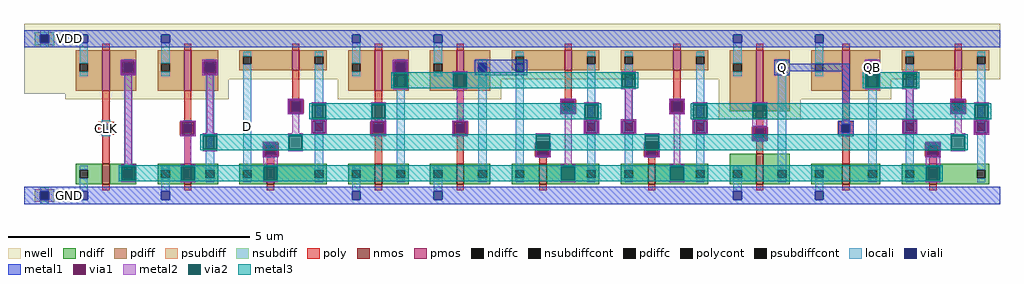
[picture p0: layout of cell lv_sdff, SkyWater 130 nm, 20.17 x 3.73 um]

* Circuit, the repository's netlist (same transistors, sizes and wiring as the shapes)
* NGSPICE file created from lv_sdff.ext - technology: sky130A

.subckt tg A B GN GP VDD GND w_0_481# VSUBS
X0 B GN A VSUBS sky130_fd_pr__nfet_01v8 ad=0.4578 pd=3.02 as=0.2394 ps=1.98 w=0.42 l=0.15
X1 B GP A w_0_481# sky130_fd_pr__pfet_01v8 ad=0.2394 pd=1.98 as=0.4578 ps=3.02 w=0.42 l=0.15
.ends

.subckt inv_s1 A Y VDD GND w_0_313# VSUBS
X0 Y A GND VSUBS sky130_fd_pr__nfet_01v8 ad=0.3465 pd=2.36 as=0.3465 ps=2.36 w=0.63 l=0.15
X1 Y A VDD w_0_313# sky130_fd_pr__pfet_01v8 ad=0.693 pd=3.62 as=0.693 ps=3.62 w=1.26 l=0.15
.ends

.subckt inv_ff A Y VDD GND w_0_397# VSUBS
X0 Y A GND VSUBS sky130_fd_pr__nfet_01v8 ad=0.231 pd=1.94 as=0.231 ps=1.94 w=0.42 l=0.15
X1 Y A VDD w_0_397# sky130_fd_pr__pfet_01v8 ad=0.462 pd=2.78 as=0.462 ps=2.78 w=0.84 l=0.15
.ends

.subckt inv_s2 A Y VDD GND w_0_397# VSUBS
X0 Y A GND VSUBS sky130_fd_pr__nfet_01v8 ad=0.2688 pd=2.12 as=0.2688 ps=2.12 w=0.42 l=0.15
X1 Y A VDD w_0_397# sky130_fd_pr__pfet_01v8 ad=0.5376 pd=2.96 as=0.5376 ps=2.96 w=0.84 l=0.15
.ends

.subckt sdff D CLK Q QB VDD GND t4/w_0_481# VSUBS
Xt1 D t2/B ci/Y t4/GP VDD GND t4/w_0_481# VSUBS tg
Xs1 t4/B Q VDD GND t4/w_0_481# VSUBS inv_s1
Xt2 t2/A t2/B t4/GP ci/Y VDD GND t4/w_0_481# VSUBS tg
Xci CLK ci/Y VDD GND t4/w_0_481# VSUBS inv_ff
Xs2 Q QB VDD GND t4/w_0_481# VSUBS inv_s2
Xt3 t3/A t4/B t4/GP ci/Y VDD GND t4/w_0_481# VSUBS tg
Xt4 QB t4/B ci/Y t4/GP VDD GND t4/w_0_481# VSUBS tg
Xm1 t2/B t3/A VDD GND t4/w_0_481# VSUBS inv_ff
Xm2 t3/A t2/A VDD GND t4/w_0_481# VSUBS inv_ff
Xci2 ci/Y t4/GP VDD GND t4/w_0_481# VSUBS inv_ff
.ends

.subckt lv_sdff D CLK Q QB VDD GND
Xu D CLK Q QB VDD GND VDD GND sdff
.ends

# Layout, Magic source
magic
tech sky130A
magscale 1 2
<< locali >>
rect 322 261 356 295
rect 906 267 940 301
<< metal1 >>
rect 173 631 207 665
rect 3116 512 3150 546
rect 3490 512 3524 546
rect 173 -17 207 17
use tap  t
transform 1 0 0 0 1 0
box 0 -36 170 710
use sdff  u
transform 1 0 170 0 1 0
box 0 -36 3864 710
<< labels >>
rlabel locali 923 284 923 284 0 D
port 1 nsew
rlabel locali 339 278 339 278 0 CLK
port 2 nsew
rlabel metal1 3133 529 3133 529 0 Q
port 3 nsew
rlabel metal1 3507 529 3507 529 0 QB
port 4 nsew
rlabel metal1 190 648 190 648 0 VDD
port 5 nsew
rlabel metal1 190 0 190 0 0 GND
port 6 nsew
<< end >>

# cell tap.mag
magic
tech sky130A
magscale 1 2
<< nwell >>
rect 0 420 170 710
<< psubdiff >>
rect 44 17 126 26
rect 44 -17 68 17
rect 102 -17 126 17
rect 44 -26 126 -17
<< nsubdiff >>
rect 44 665 126 674
rect 44 631 68 665
rect 102 631 126 665
rect 44 622 126 631
<< psubdiffcont >>
rect 68 -17 102 17
<< nsubdiffcont >>
rect 68 631 102 665
<< locali >>
rect 68 665 102 683
rect 68 613 102 631
rect 68 17 102 35
rect 68 -35 102 -17
<< viali >>
rect 68 631 102 665
rect 68 -17 102 17
<< metal1 >>
rect 0 665 170 684
rect 0 631 68 665
rect 102 631 170 665
rect 0 612 170 631
rect 0 17 170 36
rect 0 -17 68 17
rect 102 -17 170 17
rect 0 -36 170 -17
<< labels >>
rlabel metal1 20 648 20 648 0 VDD
port 1 nsew
rlabel metal1 20 0 20 0 0 GND
port 2 nsew
<< end >>

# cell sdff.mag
magic
tech sky130A
magscale 1 2
<< locali >>
rect 152 261 186 295
rect 736 267 770 301
<< viali >>
rect 1862 512 1896 546
rect 936 351 970 385
rect 2062 351 2096 385
rect 2512 351 2546 385
rect 3674 351 3708 385
rect 490 261 524 295
rect 1032 267 1066 301
rect 1278 261 1312 295
rect 1616 261 1650 295
rect 2158 267 2192 301
rect 2312 267 2346 301
rect 2608 267 2642 301
rect 2854 239 2888 273
rect 3210 261 3244 295
rect 3474 267 3508 301
rect 3770 267 3804 301
rect 832 173 866 207
rect 1958 173 1992 207
rect 2408 173 2442 207
rect 3570 173 3604 207
<< metal1 >>
rect 3 631 37 665
rect 229 555 293 561
rect 229 503 235 555
rect 287 503 293 555
rect 229 497 293 503
rect 567 555 631 561
rect 567 503 573 555
rect 625 503 631 555
rect 567 497 631 503
rect 1355 555 1419 561
rect 1355 503 1361 555
rect 1413 503 1419 555
rect 1355 497 1419 503
rect 1693 546 1911 561
rect 3305 555 3369 561
rect 1693 512 1862 546
rect 1896 512 1911 546
rect 2946 545 2980 546
rect 2931 513 3243 545
rect 2946 512 2980 513
rect 1693 497 1911 512
rect 921 394 985 400
rect 921 342 927 394
rect 979 342 985 394
rect 921 336 985 342
rect 2047 394 2111 400
rect 2047 342 2053 394
rect 2105 342 2111 394
rect 2047 336 2111 342
rect 2497 394 2561 400
rect 2497 342 2503 394
rect 2555 342 2561 394
rect 2497 336 2561 342
rect 1017 310 1081 316
rect 2143 310 2207 316
rect 475 304 539 310
rect 475 252 481 304
rect 533 252 539 304
rect 1017 258 1023 310
rect 1075 258 1081 310
rect 1017 252 1081 258
rect 1263 304 1327 310
rect 1263 252 1269 304
rect 1321 252 1327 304
rect 475 246 539 252
rect 1263 246 1327 252
rect 1601 304 1665 310
rect 1601 252 1607 304
rect 1659 252 1665 304
rect 2143 258 2149 310
rect 2201 258 2207 310
rect 2143 252 2207 258
rect 2297 310 2361 316
rect 2297 258 2303 310
rect 2355 258 2361 310
rect 2297 252 2361 258
rect 2593 310 2657 316
rect 3211 310 3243 513
rect 3305 503 3311 555
rect 3363 503 3369 555
rect 3305 497 3369 503
rect 3659 394 3723 400
rect 3659 342 3665 394
rect 3717 342 3723 394
rect 3659 336 3723 342
rect 3459 310 3523 316
rect 2593 258 2599 310
rect 2651 258 2657 310
rect 3195 295 3259 310
rect 2593 252 2657 258
rect 2839 282 2903 288
rect 1601 246 1665 252
rect 2839 230 2845 282
rect 2897 230 2903 282
rect 3195 261 3210 295
rect 3244 261 3259 295
rect 3195 246 3259 261
rect 3459 258 3465 310
rect 3517 258 3523 310
rect 3459 252 3523 258
rect 3755 310 3819 316
rect 3755 258 3761 310
rect 3813 258 3819 310
rect 3755 252 3819 258
rect 2839 224 2903 230
rect 817 216 881 222
rect 817 164 823 216
rect 875 164 881 216
rect 817 158 881 164
rect 1943 216 2007 222
rect 1943 164 1949 216
rect 2001 164 2007 216
rect 1943 158 2007 164
rect 2393 216 2457 222
rect 2393 164 2399 216
rect 2451 164 2457 216
rect 2393 158 2457 164
rect 3555 216 3619 222
rect 3555 164 3561 216
rect 3613 164 3619 216
rect 3555 158 3619 164
rect 3 -17 37 17
<< via1 >>
rect 235 503 287 555
rect 573 503 625 555
rect 1361 503 1413 555
rect 927 385 979 394
rect 927 351 936 385
rect 936 351 970 385
rect 970 351 979 385
rect 927 342 979 351
rect 2053 385 2105 394
rect 2053 351 2062 385
rect 2062 351 2096 385
rect 2096 351 2105 385
rect 2053 342 2105 351
rect 2503 385 2555 394
rect 2503 351 2512 385
rect 2512 351 2546 385
rect 2546 351 2555 385
rect 2503 342 2555 351
rect 481 295 533 304
rect 481 261 490 295
rect 490 261 524 295
rect 524 261 533 295
rect 481 252 533 261
rect 1023 301 1075 310
rect 1023 267 1032 301
rect 1032 267 1066 301
rect 1066 267 1075 301
rect 1023 258 1075 267
rect 1269 295 1321 304
rect 1269 261 1278 295
rect 1278 261 1312 295
rect 1312 261 1321 295
rect 1269 252 1321 261
rect 1607 295 1659 304
rect 1607 261 1616 295
rect 1616 261 1650 295
rect 1650 261 1659 295
rect 1607 252 1659 261
rect 2149 301 2201 310
rect 2149 267 2158 301
rect 2158 267 2192 301
rect 2192 267 2201 301
rect 2149 258 2201 267
rect 2303 301 2355 310
rect 2303 267 2312 301
rect 2312 267 2346 301
rect 2346 267 2355 301
rect 2303 258 2355 267
rect 3311 503 3363 555
rect 3665 385 3717 394
rect 3665 351 3674 385
rect 3674 351 3708 385
rect 3708 351 3717 385
rect 3665 342 3717 351
rect 2599 301 2651 310
rect 2599 267 2608 301
rect 2608 267 2642 301
rect 2642 267 2651 301
rect 2599 258 2651 267
rect 2845 273 2897 282
rect 2845 239 2854 273
rect 2854 239 2888 273
rect 2888 239 2897 273
rect 2845 230 2897 239
rect 3465 301 3517 310
rect 3465 267 3474 301
rect 3474 267 3508 301
rect 3508 267 3517 301
rect 3465 258 3517 267
rect 3761 301 3813 310
rect 3761 267 3770 301
rect 3770 267 3804 301
rect 3804 267 3813 301
rect 3761 258 3813 267
rect 823 207 875 216
rect 823 173 832 207
rect 832 173 866 207
rect 866 173 875 207
rect 823 164 875 173
rect 1949 207 2001 216
rect 1949 173 1958 207
rect 1958 173 1992 207
rect 1992 173 2001 207
rect 1949 164 2001 173
rect 2399 207 2451 216
rect 2399 173 2408 207
rect 2408 173 2442 207
rect 2442 173 2451 207
rect 2399 164 2451 173
rect 3561 207 3613 216
rect 3561 173 3570 207
rect 3570 173 3604 207
rect 3604 173 3613 207
rect 3561 164 3613 173
<< metal2 >>
rect 229 555 293 561
rect 229 503 235 555
rect 287 503 293 555
rect 229 497 293 503
rect 567 555 631 561
rect 567 503 573 555
rect 625 503 631 555
rect 567 497 631 503
rect 1355 555 1419 561
rect 1355 504 1361 555
rect 1413 504 1419 555
rect 3305 555 3369 561
rect 1355 497 1359 504
rect 247 129 275 497
rect 475 304 539 310
rect 475 252 481 304
rect 533 252 539 304
rect 585 257 613 497
rect 1357 448 1359 497
rect 1415 497 1419 504
rect 1603 504 1663 513
rect 1415 448 1417 497
rect 1357 439 1417 448
rect 1603 448 1605 504
rect 1661 448 1663 504
rect 1603 439 1663 448
rect 2299 504 2359 513
rect 2299 448 2301 504
rect 2357 448 2359 504
rect 3305 504 3311 555
rect 3363 504 3369 555
rect 3305 497 3309 504
rect 2299 439 2359 448
rect 3307 448 3309 497
rect 3365 497 3369 504
rect 3461 504 3521 513
rect 3365 448 3367 497
rect 3307 439 3367 448
rect 3461 448 3463 504
rect 3519 448 3521 504
rect 3461 439 3521 448
rect 921 394 985 400
rect 921 342 927 394
rect 979 342 985 394
rect 921 336 985 342
rect 1019 376 1079 385
rect 939 257 967 336
rect 1019 320 1021 376
rect 1077 320 1079 376
rect 1019 316 1079 320
rect 1265 376 1325 385
rect 1265 320 1267 376
rect 1323 320 1325 376
rect 1017 310 1081 316
rect 1265 310 1325 320
rect 1619 310 1647 439
rect 2047 394 2111 400
rect 2047 342 2053 394
rect 2105 342 2111 394
rect 2047 336 2111 342
rect 2145 376 2205 385
rect 1017 258 1023 310
rect 1075 258 1081 310
rect 475 246 539 252
rect 569 248 629 257
rect 493 129 521 246
rect 569 192 571 248
rect 627 192 629 248
rect 923 248 983 257
rect 1017 252 1081 258
rect 1263 304 1327 310
rect 1263 252 1269 304
rect 1321 252 1327 304
rect 569 183 629 192
rect 817 216 881 222
rect 817 164 823 216
rect 875 164 881 216
rect 923 192 925 248
rect 981 192 983 248
rect 1263 246 1327 252
rect 1601 304 1665 310
rect 1601 252 1607 304
rect 1659 252 1665 304
rect 1601 246 1665 252
rect 1945 248 2005 257
rect 1945 222 1947 248
rect 923 183 983 192
rect 1943 192 1947 222
rect 2003 222 2005 248
rect 2003 192 2007 222
rect 817 158 881 164
rect 1943 164 1949 192
rect 2001 164 2007 192
rect 1943 158 2007 164
rect 231 120 291 129
rect 231 64 233 120
rect 289 64 291 120
rect 231 55 291 64
rect 477 120 537 129
rect 477 64 479 120
rect 535 64 537 120
rect 477 55 537 64
rect 819 120 879 158
rect 2065 129 2093 336
rect 2145 320 2147 376
rect 2203 320 2205 376
rect 2145 316 2205 320
rect 2315 316 2343 439
rect 2497 394 2561 400
rect 2497 342 2503 394
rect 2555 342 2561 394
rect 2497 336 2561 342
rect 2595 376 2655 385
rect 2143 310 2207 316
rect 2143 258 2149 310
rect 2201 258 2207 310
rect 2143 252 2207 258
rect 2297 310 2361 316
rect 2297 258 2303 310
rect 2355 258 2361 310
rect 2297 252 2361 258
rect 2395 248 2455 257
rect 2395 222 2397 248
rect 2393 192 2397 222
rect 2453 222 2455 248
rect 2453 192 2457 222
rect 2393 164 2399 192
rect 2451 164 2457 192
rect 2393 158 2457 164
rect 2515 129 2543 336
rect 2595 320 2597 376
rect 2653 320 2655 376
rect 2595 316 2655 320
rect 2841 376 2901 385
rect 2841 320 2843 376
rect 2899 320 2901 376
rect 2593 310 2657 316
rect 2593 258 2599 310
rect 2651 258 2657 310
rect 2841 288 2901 320
rect 3477 316 3505 439
rect 3659 394 3723 400
rect 3659 342 3665 394
rect 3717 342 3723 394
rect 3659 336 3723 342
rect 3757 376 3817 385
rect 3459 310 3523 316
rect 2593 252 2657 258
rect 2839 282 2903 288
rect 2839 230 2845 282
rect 2897 230 2903 282
rect 3459 258 3465 310
rect 3517 258 3523 310
rect 3459 252 3523 258
rect 3677 257 3705 336
rect 3757 320 3759 376
rect 3815 320 3817 376
rect 3757 316 3817 320
rect 3755 310 3819 316
rect 3755 258 3761 310
rect 3813 258 3819 310
rect 2839 224 2903 230
rect 3661 248 3721 257
rect 3755 252 3819 258
rect 3555 216 3619 222
rect 3555 164 3561 216
rect 3613 164 3619 216
rect 3661 192 3663 248
rect 3719 192 3721 248
rect 3661 183 3721 192
rect 3555 158 3619 164
rect 819 64 821 120
rect 877 64 879 120
rect 819 55 879 64
rect 2049 120 2109 129
rect 2049 64 2051 120
rect 2107 64 2109 120
rect 2049 55 2109 64
rect 2499 120 2559 129
rect 2499 64 2501 120
rect 2557 64 2559 120
rect 2499 55 2559 64
rect 3557 120 3617 158
rect 3557 64 3559 120
rect 3615 64 3617 120
rect 3557 55 3617 64
<< via2 >>
rect 1359 503 1361 504
rect 1361 503 1413 504
rect 1413 503 1415 504
rect 1359 448 1415 503
rect 1605 448 1661 504
rect 2301 448 2357 504
rect 3309 503 3311 504
rect 3311 503 3363 504
rect 3363 503 3365 504
rect 3309 448 3365 503
rect 3463 448 3519 504
rect 1021 320 1077 376
rect 1267 320 1323 376
rect 571 192 627 248
rect 925 192 981 248
rect 1947 216 2003 248
rect 1947 192 1949 216
rect 1949 192 2001 216
rect 2001 192 2003 216
rect 233 64 289 120
rect 479 64 535 120
rect 2147 320 2203 376
rect 2397 216 2453 248
rect 2397 192 2399 216
rect 2399 192 2451 216
rect 2451 192 2453 216
rect 2597 320 2653 376
rect 2843 320 2899 376
rect 3759 320 3815 376
rect 3663 192 3719 248
rect 821 64 877 120
rect 2051 64 2107 120
rect 2501 64 2557 120
rect 3559 64 3615 120
<< metal3 >>
rect 1347 504 2369 509
rect 1347 448 1359 504
rect 1415 448 1605 504
rect 1661 448 2301 504
rect 2357 448 2369 504
rect 1347 443 2369 448
rect 3297 504 3531 509
rect 3297 448 3309 504
rect 3365 448 3463 504
rect 3519 448 3531 504
rect 3297 443 3531 448
rect 1009 376 2215 381
rect 1009 320 1021 376
rect 1077 320 1267 376
rect 1323 320 2147 376
rect 2203 320 2215 376
rect 1009 315 2215 320
rect 2585 376 3827 381
rect 2585 320 2597 376
rect 2653 320 2843 376
rect 2899 320 3759 376
rect 3815 320 3827 376
rect 2585 315 3827 320
rect 559 248 3731 253
rect 559 192 571 248
rect 627 192 925 248
rect 981 192 1947 248
rect 2003 192 2397 248
rect 2453 192 3663 248
rect 3719 192 3731 248
rect 559 187 3731 192
rect 221 120 3627 125
rect 221 64 233 120
rect 289 64 479 120
rect 535 64 821 120
rect 877 64 2051 120
rect 2107 64 2501 120
rect 2557 64 3559 120
rect 3615 64 3627 120
rect 221 59 3627 64
use inv_ff  ci2
transform 1 0 338 0 1 0
box 0 -36 338 710
use inv_ff  ci
transform 1 0 0 0 1 0
box 0 -36 338 710
use inv_ff  m1
transform 1 0 1126 0 1 0
box 0 -36 338 710
use inv_ff  m2
transform 1 0 1464 0 1 0
box 0 -36 338 710
use inv_s1  s1
transform 1 0 2702 0 1 0
box 0 -36 338 710
use inv_s2  s2
transform 1 0 3040 0 1 0
box 0 -36 374 710
use tg  t1
transform 1 0 676 0 1 0
box 0 -36 450 710
use tg  t2
transform 1 0 1802 0 1 0
box 0 -36 450 710
use tg  t3
transform 1 0 2252 0 1 0
box 0 -36 450 710
use tg  t4
transform 1 0 3414 0 1 0
box 0 -36 450 710
<< labels >>
rlabel locali 753 284 753 284 0 D
port 1 nsew
rlabel locali 169 278 169 278 0 CLK
port 2 nsew
rlabel metal1 2963 529 2963 529 0 Q
port 3 nsew
rlabel via1 3337 529 3337 529 0 QB
port 4 nsew
rlabel metal1 20 648 20 648 0 VDD
port 5 nsew
rlabel metal1 20 0 20 0 0 GND
port 6 nsew
<< end >>

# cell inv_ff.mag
magic
tech sky130A
magscale 1 2
<< nwell >>
rect 0 397 338 710
<< nmos >>
rect 154 47 184 131
<< pmos >>
rect 154 433 184 601
<< ndiff >>
rect 44 106 154 131
rect 44 72 60 106
rect 94 72 154 106
rect 44 47 154 72
rect 184 106 294 131
rect 184 72 244 106
rect 278 72 294 106
rect 184 47 294 72
<< pdiff >>
rect 44 546 154 601
rect 44 512 60 546
rect 94 512 154 546
rect 44 433 154 512
rect 184 546 294 601
rect 184 512 244 546
rect 278 512 294 546
rect 184 433 294 512
<< ndiffc >>
rect 60 72 94 106
rect 244 72 278 106
<< pdiffc >>
rect 60 512 94 546
rect 244 512 278 546
<< poly >>
rect 154 601 184 627
rect 154 305 184 433
rect 136 295 202 305
rect 136 261 152 295
rect 186 261 202 295
rect 136 251 202 261
rect 154 131 184 251
rect 154 21 184 47
<< polycont >>
rect 152 261 186 295
<< locali >>
rect 60 546 94 631
rect 60 494 94 512
rect 244 546 278 564
rect 152 295 186 311
rect 152 245 186 261
rect 60 106 94 124
rect 60 17 94 72
rect 244 106 278 512
rect 244 54 278 72
<< viali >>
rect 60 631 94 665
rect 244 512 278 546
rect 60 -17 94 17
<< metal1 >>
rect 0 665 338 684
rect 0 631 60 665
rect 94 631 338 665
rect 0 612 338 631
rect 229 546 293 561
rect 229 512 244 546
rect 278 512 293 546
rect 229 497 293 512
rect 0 17 338 36
rect 0 -17 60 17
rect 94 -17 338 17
rect 0 -36 338 -17
<< labels >>
rlabel polycont 169 278 169 278 0 A
port 1 nsew
rlabel viali 261 529 261 529 0 Y
port 2 nsew
rlabel metal1 20 648 20 648 0 VDD
port 3 nsew
rlabel metal1 20 0 20 0 0 GND
port 4 nsew
<< end >>

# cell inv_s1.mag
magic
tech sky130A
magscale 1 2
<< nwell >>
rect 0 313 338 710
<< nmos >>
rect 154 47 184 173
<< pmos >>
rect 154 349 184 601
<< ndiff >>
rect 44 106 154 173
rect 44 72 60 106
rect 94 72 154 106
rect 44 47 154 72
rect 184 106 294 173
rect 184 72 244 106
rect 278 72 294 106
rect 184 47 294 72
<< pdiff >>
rect 44 546 154 601
rect 44 512 60 546
rect 94 512 154 546
rect 44 349 154 512
rect 184 546 294 601
rect 184 512 244 546
rect 278 512 294 546
rect 184 349 294 512
<< ndiffc >>
rect 60 72 94 106
rect 244 72 278 106
<< pdiffc >>
rect 60 512 94 546
rect 244 512 278 546
<< poly >>
rect 154 601 184 627
rect 154 283 184 349
rect 136 273 202 283
rect 136 239 152 273
rect 186 239 202 273
rect 136 229 202 239
rect 154 173 184 229
rect 154 21 184 47
<< polycont >>
rect 152 239 186 273
<< locali >>
rect 60 546 94 631
rect 60 494 94 512
rect 244 546 278 564
rect 152 273 186 289
rect 152 223 186 239
rect 60 106 94 124
rect 60 17 94 72
rect 244 106 278 512
rect 244 54 278 72
<< viali >>
rect 60 631 94 665
rect 244 512 278 546
rect 60 -17 94 17
<< metal1 >>
rect 0 665 338 684
rect 0 631 60 665
rect 94 631 338 665
rect 0 612 338 631
rect 229 546 293 561
rect 229 512 244 546
rect 278 512 293 546
rect 229 497 293 512
rect 0 17 338 36
rect 0 -17 60 17
rect 94 -17 338 17
rect 0 -36 338 -17
<< labels >>
rlabel polycont 169 256 169 256 0 A
port 1 nsew
rlabel viali 261 529 261 529 0 Y
port 2 nsew
rlabel metal1 20 648 20 648 0 VDD
port 3 nsew
rlabel metal1 20 0 20 0 0 GND
port 4 nsew
<< end >>

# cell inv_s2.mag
magic
tech sky130A
magscale 1 2
<< nwell >>
rect 0 397 374 710
<< nmos >>
rect 172 47 202 131
<< pmos >>
rect 172 433 202 601
<< ndiff >>
rect 44 106 172 131
rect 44 72 60 106
rect 94 72 172 106
rect 44 47 172 72
rect 202 106 330 131
rect 202 72 280 106
rect 314 72 330 106
rect 202 47 330 72
<< pdiff >>
rect 44 546 172 601
rect 44 512 60 546
rect 94 512 172 546
rect 44 433 172 512
rect 202 546 330 601
rect 202 512 280 546
rect 314 512 330 546
rect 202 433 330 512
<< ndiffc >>
rect 60 72 94 106
rect 280 72 314 106
<< pdiffc >>
rect 60 512 94 546
rect 280 512 314 546
<< poly >>
rect 172 601 202 627
rect 172 305 202 433
rect 154 295 220 305
rect 154 261 170 295
rect 204 261 220 295
rect 154 251 220 261
rect 172 131 202 251
rect 172 21 202 47
<< polycont >>
rect 170 261 204 295
<< locali >>
rect 60 546 94 631
rect 60 494 94 512
rect 280 546 314 564
rect 170 295 204 311
rect 170 245 204 261
rect 60 106 94 124
rect 60 17 94 72
rect 280 106 314 512
rect 280 54 314 72
<< viali >>
rect 60 631 94 665
rect 280 512 314 546
rect 60 -17 94 17
<< metal1 >>
rect 0 665 374 684
rect 0 631 60 665
rect 94 631 374 665
rect 0 612 374 631
rect 265 546 329 561
rect 265 512 280 546
rect 314 512 329 546
rect 265 497 329 512
rect 0 17 374 36
rect 0 -17 60 17
rect 94 -17 374 17
rect 0 -36 374 -17
<< labels >>
rlabel polycont 187 278 187 278 0 A
port 1 nsew
rlabel viali 297 529 297 529 0 Y
port 2 nsew
rlabel metal1 20 648 20 648 0 VDD
port 3 nsew
rlabel metal1 20 0 20 0 0 GND
port 4 nsew
<< end >>

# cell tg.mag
magic
tech sky130A
magscale 1 2
<< nwell >>
rect 0 481 450 710
<< nmos >>
rect 158 47 188 131
<< pmos >>
rect 262 517 292 601
<< ndiff >>
rect 44 106 158 131
rect 44 72 60 106
rect 94 72 158 106
rect 44 47 158 72
rect 188 106 406 131
rect 188 72 356 106
rect 390 72 406 106
rect 188 47 406 72
<< pdiff >>
rect 44 576 262 601
rect 44 542 60 576
rect 94 542 262 576
rect 44 517 262 542
rect 292 576 406 601
rect 292 542 356 576
rect 390 542 406 576
rect 292 517 406 542
<< ndiffc >>
rect 60 72 94 106
rect 356 72 390 106
<< pdiffc >>
rect 60 542 94 576
rect 356 542 390 576
<< poly >>
rect 262 601 292 627
rect 262 395 292 517
rect 244 385 310 395
rect 244 351 260 385
rect 294 351 310 385
rect 244 341 310 351
rect 262 340 292 341
rect 158 217 188 218
rect 140 207 206 217
rect 140 173 156 207
rect 190 173 206 207
rect 140 163 206 173
rect 158 131 188 163
rect 158 21 188 47
<< polycont >>
rect 260 351 294 385
rect 156 173 190 207
<< locali >>
rect 60 576 94 594
rect 60 106 94 542
rect 356 576 390 594
rect 260 385 294 401
rect 260 335 294 351
rect 156 207 190 223
rect 156 157 190 173
rect 60 54 94 72
rect 356 106 390 542
rect 356 54 390 72
<< metal1 >>
rect 0 612 450 684
rect 0 -36 450 36
<< labels >>
rlabel locali 77 284 77 284 0 A
port 1 nsew
rlabel locali 373 284 373 284 0 B
port 2 nsew
rlabel polycont 173 190 173 190 0 GN
port 3 nsew
rlabel polycont 277 368 277 368 0 GP
port 4 nsew
rlabel metal1 20 648 20 648 0 VDD
port 5 nsew
rlabel metal1 20 0 20 0 0 GND
port 6 nsew
<< end >>
